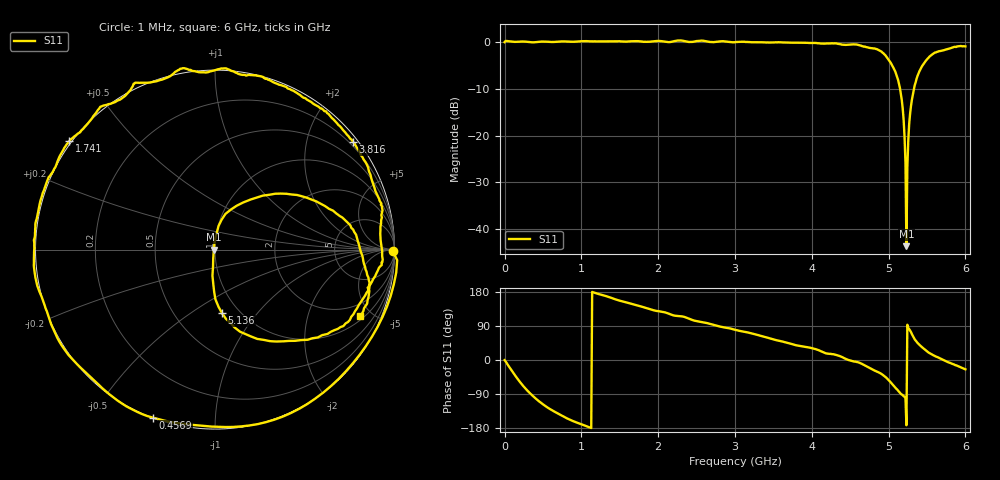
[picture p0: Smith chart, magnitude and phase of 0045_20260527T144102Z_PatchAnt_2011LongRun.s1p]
# Hz S RI R 50
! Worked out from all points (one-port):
!   501 points, 1 MHz to 6 GHz, reference 50 ohm
!   lowest |S11| = -43.6 dB at 5.232 GHz (marker M1), VSWR 1.01, Z = 49.3 - j0.0894 ohm
!   |S11| at or under -10 dB: 5.149 GHz to 5.332 GHz (182.5 MHz wide, 3.48 % of centre)
!   S11 on the Smith chart (normalised r, x): 1 MHz: open; 456.9 MHz: 0.00, -0.70; 1.741 GHz: -0.01, +0.33; 3.816 GHz: 0.12, +2.90; 5.136 GHz: 0.83, -0.67; 6 GHz: 1.18, -4.27
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1000000  0.9893 -0.00643
8.4986e7  0.9059 -0.431
2.28962e8  0.4218 -0.9111
3.12948e8  0.1029 -0.988
4.56924e8  -0.3458 -0.9362
7.56874e8  -0.8557 -0.5317
1.068822e9  -1.009 -0.0906
1.50075e9  -0.9268 0.4035
1.74071e9  -0.8125 0.6044
2.256624e9  -0.4532 0.9241
3.0005e9  0.1725 0.9694
3.756374e9  0.7354 0.64
3.816364e9  0.7674 0.6004
4.308282e9  0.9306 0.232
4.50025e9  0.9311 -0.0199
4.872188e9  0.6841 -0.4417
5.028162e9  0.307 -0.5101
5.136144e9  0.038 -0.3519
5.184136e9  -0.0094 -0.1935
5.196134e9  -0.0142 -0.1454
5.208132e9  -0.011 -0.0949
5.232128e9  -0.00657 -0.000906
5.256124e9  0.00812 0.0873
5.268122e9  0.0198 0.132
5.292118e9  0.0584 0.1991
5.412098e9  0.3973 0.3111
5.628062e9  0.7697 0.1115
6e9  0.8097 -0.3714
